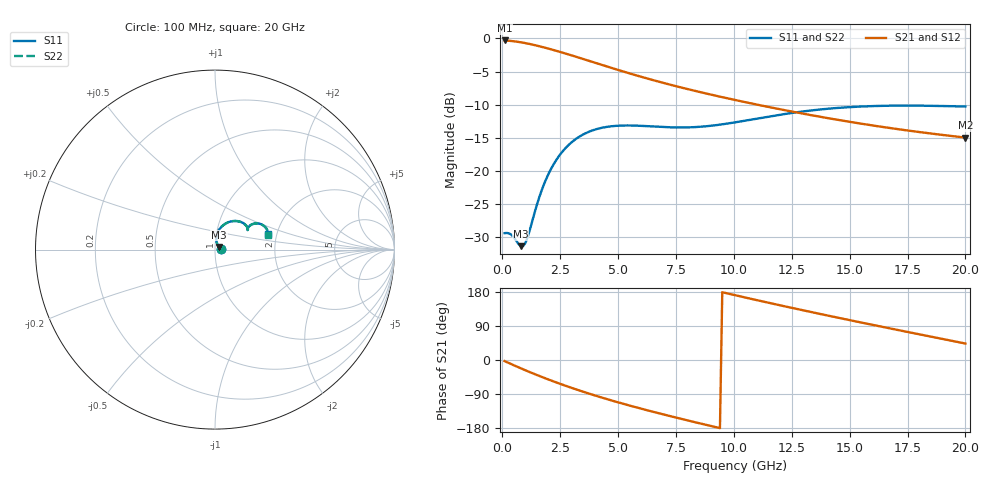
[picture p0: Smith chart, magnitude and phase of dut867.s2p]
! Touchstone file exported from HFSS 2024.1.0
!  File:  C:/UserFiles/LocalFiles/RDL_TSV_Batchsim/temp_RDL_TSV_867_1779926613.aedt
!  Generated:  08:21:05 AM May 28, 2026
!  Design:  RDL_TSV
!  Project:  temp_RDL_TSV_867_1779926613
!  Setup:  Setup1
!  Solution:  Sweep
! Variables:
!  dtsv = 11.85um
!  hbump = 3um
!  htsv = 99.41um
!  ldown = 614.85um
!  lrdl = 641.79um
!  p = 40
!  p1 = 52.17um
!  rhole = 10um
!  subl = 4411.71um
!  t = 450um
!  tdown = 2.59um
!  trdl = 2.56um
!  viad = 10um
!  wdown = 11.49um
!  wrdl = 28.28um
!  xbump = 18um
# GHz S MA R 50.000000
! Terminal data exported
! Port[1] = TM1_1_T1
! Port[2] = TM1_4_T1
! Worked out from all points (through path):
!   200 points, 100 MHz to 20 GHz, reference 50 ohm
!   highest |S21| = -0.30 dB at 100 MHz (marker M1); lowest = -15.0 dB at 20 GHz (marker M2)
!   group delay of S21, straight-line fit = 41.5 ps
!   lowest |S11| = -31.4 dB at 800 MHz (marker M3), VSWR 1.06, Z = 52.3 + j1.54 ohm
!   |S11| at or under -10 dB: start of sweep to end of sweep
!   |S22| runs from -31.4 to -10.2 dB; largest |S21 - S12| = 3.5e-14
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0.1  0.03373 3.1  0.9656 -2.9  0.9656 -2.9  0.03373 3.1
! Gamma 0 0 0 0
! Port Impedance 50 0 50 0
0.4  0.03268 10.3  0.9564 -11.2  0.9564 -11.2  0.0327 10.3
0.8  0.02688 33.2  0.9351 -22.0  0.9351 -22.0  0.02691 33.0
0.9  0.02691 43.6  0.9286 -24.6  0.9286 -24.6  0.02694 43.4
1  0.02847 54.4  0.9216 -27.2  0.9216 -27.2  0.02847 54.2
1.3  0.04196 76.8  0.8986 -34.8  0.8986 -34.8  0.04187 76.5
1.7  0.07097 83.5  0.8644 -44.6  0.8644 -44.6  0.07076 83.3
1.9  0.08691 82.4  0.8464 -49.3  0.8464 -49.3  0.08663 82.3
2.2  0.1106 78.8  0.8188 -56.2  0.8188 -56.2  0.1102 78.7
2.8  0.1526 69.1  0.7627 -69.4  0.7627 -69.4  0.152 69.0
3.5  0.1883 57.7  0.6988 -83.9  0.6988 -83.9  0.1875 57.6
4.2  0.2091 48.1  0.6391 -97.3  0.6391 -97.3  0.2082 48.0
5  0.2188 39.7  0.5779 -111.7  0.5779 -111.7  0.2178 39.7
5.9  0.2187 33.8  0.5188 -126.9  0.5188 -126.9  0.2176 33.7
6.8  0.2145 31.1  0.4689 -141.2  0.4689 -141.2  0.2134 31.1
8.3  0.2136 31.9  0.4023 -163.8  0.4023 -163.8  0.2126 31.9
10.1  0.2328 34.4  0.3411 170.3  0.3411 170.3  0.2321 34.4
11.7  0.26 33.7  0.2984 148.3  0.2984 148.3  0.2595 33.7
13.4  0.2863 30.3  0.2619 125.8  0.2619 125.8  0.2859 30.3
15  0.3025 26.1  0.2342 105.2  0.2342 105.2  0.3022 26.1
16.7  0.31 21.8  0.2107 83.9  0.2107 83.9  0.3097 21.7
20  0.3057 16.0  0.1779 43.4  0.1779 43.4  0.3055 15.9
